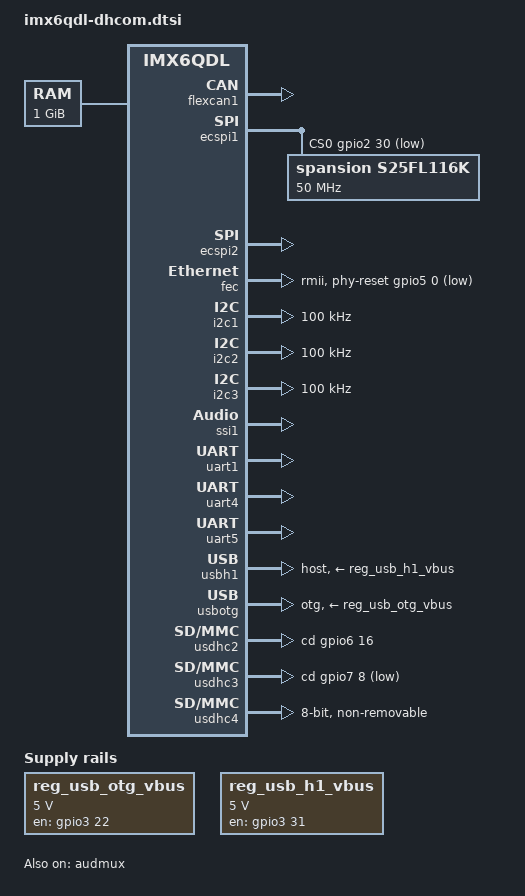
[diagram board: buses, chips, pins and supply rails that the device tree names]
/*
 * Copyright 2014 DH electronics GmbH
 * Copyright 2012 Freescale Semiconductor, Inc.
 * Copyright 2011 Linaro Ltd.
 *
 * The code contained herein is licensed under the GNU General Public
 * License. You may obtain a copy of the GNU General Public License
 * Version 2 or later at the following locations:
 *
 * http://www.opensource.org/licenses/gpl-license.html
 * http://www.gnu.org/copyleft/gpl.html
 */

/ {
	aliases {
		mxcfb0 = &mxcfb1;
		mxcfb1 = &mxcfb2;
		mxcfb2 = &mxcfb3;
		mxcfb3 = &mxcfb4;
	};
	
	memory {
		reg = <0x10000000 0x40000000>;				// 1GB DDR3 RAM
	};
	
	regulators {
		compatible = "simple-bus";

		reg_usb_otg_vbus: usb_otg_vbus {
			compatible = "regulator-fixed";
			regulator-name = "usb_otg_vbus";
			regulator-min-microvolt = <5000000>;
			regulator-max-microvolt = <5000000>;
			gpio = <&gpio3 22 0>;				// OTG ID pin
			enable-active-high;
		};

		reg_usb_h1_vbus: usb_h1_vbus {
			compatible = "regulator-fixed";
			regulator-name = "usb_h1_vbus";
			regulator-min-microvolt = <5000000>;
			regulator-max-microvolt = <5000000>;
			gpio = <&gpio3 31 0>;
			enable-active-high;
		};
	};

	/* TODO Audio */
	/*
	sound {								// Audio SGTL5000XNAA3/R2
		compatible = "fsl,imx-audio-sgtl5000";
		model = "sgtl5000-audio";
		ssi-controller = <&ssi1>;
		audio-codec = <&codec>;
		audio-routing =
			"Headphone Jack", "HPOUTL",
			"Headphone Jack", "HPOUTR",
			"Ext Spk", "SPKOUTL",
			"Ext Spk", "SPKOUTR",
			"MICBIAS", "AMIC",
			"IN3R", "MICBIAS",
			"DMIC", "MICBIAS",
			"DMICDAT", "DMIC";
		mux-int-port = <1>;
		mux-ext-port = <3>;
	};*/

	mxcfb1: fb@0 {
		compatible = "fsl,mxc_sdc_fb";
		disp_dev = "lcd";
		interface_pix_fmt = "RGB24";
		mode_str ="DH_LCD_ID_13";
		default_bpp = <32>;
		int_clk = <0>;
		late_init = <0>;
		status = "disabled";
	};

	mxcfb2: fb@1 {
		compatible = "fsl,mxc_sdc_fb";
		disp_dev = "lcd";
		interface_pix_fmt = "RGB24";
		mode_str ="DH_LCD_ID_13";
		default_bpp = <32>;
		int_clk = <0>;
		late_init = <0>;
		status = "disabled";
	};

	mxcfb3: fb@2 {
		compatible = "fsl,mxc_sdc_fb";
		disp_dev = "hdmi";
		interface_pix_fmt = "RGB24";
		mode_str ="1920x1080M@60";
		default_bpp = <24>;
		int_clk = <0>;
		late_init = <0>;
		status = "disabled";
	};

	mxcfb4: fb@3 {
		compatible = "fsl,mxc_sdc_fb";
		disp_dev = "ldb";
		interface_pix_fmt = "RGB666";
		mode_str ="LDB-XGA";
		default_bpp = <16>;
		int_clk = <0>;
		late_init = <0>;
		status = "disabled";
	};
};


&audmux {
	pinctrl-names = "default";
	pinctrl-0 = <&pinctrl_audmux_2>;
	status = "okay";
};

&flexcan1 {								// CAN
	pinctrl-names = "default";
	pinctrl-0 = <&pinctrl_flexcan1_3>;
	status = "okay";
};

&ecspi1 {								// ********** SPI 1 **********
	fsl,spi-num-chipselects = <4>;
	cs-gpios = <&gpio2 30 1>, <0>, <&gpio4 11 1>, <0>;		// SS0, (SS1), SS2, (SS3)
	pinctrl-names = "default";
	pinctrl-0 = <&pinctrl_ecspi1_1>;
	status = "okay";

	s25fl116k@0 {							// SPI Flash: Spansion S25FL116K0PMFI010 (used to store bootloader)
		#address-cells = <1>;
		#size-cells = <1>;
		compatible = "spansion,s25fl116k", "m25p80";
		spi-max-frequency = <50000000>;
		reg = <0>;						// SS0
		m25p,fast-read;
	};
};

&ecspi2 {								// ********** SPI 2 **********
	fsl,spi-num-chipselects = <4>;
	cs-gpios = <&gpio5 29 1>, <0>, <0>, <0>;			// SS0, (SS1), (SS2), (SS3)
	pinctrl-names = "default";
	pinctrl-0 = <&pinctrl_ecspi2_1>;
	status = "okay";
};

&fec {									// Ethernet 1 (PHY: SMSC LAN8710Ai)
	pinctrl-names = "default";
	pinctrl-0 = <&pinctrl_enet_4>;
	phy-mode = "rmii";
	phy-reset-gpios = <&gpio5 0 1>;
	//phy-reset-duration = 1;					// 1ms is the default value
	status = "okay";
	//local-mac-address = [00 11 22 33 44 55];			// Is set by the bootloader
};

&gpc {
	fsl,cpu_pupscr_sw2iso = <0xf>;
	fsl,cpu_pupscr_sw = <0xf>;
	fsl,cpu_pdnscr_iso2sw = <0x1>;
	fsl,cpu_pdnscr_iso = <0x1>;
	fsl,ldo-bypass = <1>; /* use ldo-bypass, u-boot will check it and configure */
	fsl,wdog-reset = <1>; /* watchdog select of reset source */
	pu-supply = <&pu_dummy>; /* ldo-bypass:use pu_dummy if VDDSOC share with VDDPU */
};

&gpu {
	pu-supply = <&pu_dummy>; /* ldo-bypass:use pu_dummy if VDDSOC share with VDDPU */
};

&i2c1 {									// ********** I2C 1 **********
									// ==> /dev/i2c-0
	clock-frequency = <100000>;
	pinctrl-names = "default";
	pinctrl-0 = <&pinctrl_i2c1_1>;
	status = "okay";
};

&i2c2 {									// ********** I2C 2 **********
									// ==> /dev/i2c-1
	clock-frequency = <100000>;
	pinctrl-names = "default";
	pinctrl-0 = <&pinctrl_i2c2_2>;
	status = "okay";
};

&i2c3 {									// ****** I2C on Board *******
									// ==> /dev/i2c-2
	clock-frequency = <100000>;
	pinctrl-names = "default";
	pinctrl-0 = <&pinctrl_i2c3_2>;
	status = "okay";

	/* TODO Audio */
	/*
	codec: sgtl5000@0a {						// Codec SGTL5000XNAA3/R2
		compatible = "fsl,sgtl5000";
		reg = <0x0a>;
		clocks = <&clks 201>;
		VDDA-supply = <&reg_audio>;
		VDDIO-supply = <&reg_audio>;
		VDDD-supply = <&reg_audio>;
		gpio-cfg = <
			0x0000 /* 0:Default *//* Remove reopen comment !!
			0x0000 /* 1:Default *//*
			0x0013 /* 2:FN_DMICCLK *//*
			0x0000 /* 3:Default *//*
			0x8014 /* 4:FN_DMICCDAT *//*
			0x0000 /* 5:Default *//*
		>;
	};*/

	/* TODO PMIC */
	/*
	pmic: ltc3676@3c {						// Power Management LTC3676EUJ#PBF
		compatible = "ltc,ltc3676";
		reg = <0x3c>;

		regulators {
			sw1_reg: ltc3676__sw1 {
				regulator-min-microvolt = <1175000>;
				regulator-max-microvolt = <1175000>;
				regulator-boot-on;
				regulator-always-on;
			};

			sw2_reg: ltc3676__sw2 {
				regulator-min-microvolt = <1800000>;
				regulator-max-microvolt = <1800000>;
				regulator-boot-on;
				regulator-always-on;
			};

			sw3_reg: ltc3676__sw3 {
				regulator-min-microvolt = <1175000>;
				regulator-max-microvolt = <1175000>;
				regulator-boot-on;
				regulator-always-on;
			};

			sw4_reg: ltc3676__sw4 {
				regulator-min-microvolt = <1500000>;
				regulator-max-microvolt = <1500000>;
				regulator-boot-on;
				regulator-always-on;
			};

			ldo2_reg: ltc3676__ldo2 {
				regulator-min-microvolt = <2500000>;
				regulator-max-microvolt = <2500000>;
				regulator-boot-on;
				regulator-always-on;
			};

			ldo4_reg: ltc3676__ldo4 {
				regulator-min-microvolt = <3000000>;
				regulator-max-microvolt = <3000000>;
			};
		};
	};*/

	tsc2004@49 {							// Touch controller TI TSC2014 (on Board)
		compatible = "ti,tsc2004";
		reg = <0x49>;
		tsc_model =  <2004>;
		interrupt-parent = <&gpio6>;
		interrupts = <28 2>;
		irq-gpios = <&gpio6 28 0>;
		status = "disabled";
	};

	/* Will be replaced, because there is a address conflict with the RTC
	/*
	eeprom@50 {							// EEPROM Microchip 24AA02E48T-I/OT
		compatible = "atmel,24c02";
		reg = <0x50>;
		pagesize = <8>;
	};*/

	/* Use internal rtc in default case */
	/*
	rtc@56 {							// Micro Crystal RV-3029-C3
		device_type = "rtc";
		compatible = "microc,rtc-rv3029c3", "microc,rtc-rv3029c2";
		reg = <0x56>;
	};*/
};

&weim {									// Memory interface is not active by default
	status = "disable"; 
};

&iomuxc {
	pinctrl-names = "default";
	pinctrl-0 = <&pinctrl_hog>;

	hog {
		pinctrl_hog: hoggrp {
			fsl,pins = <
				MX6QDL_PAD_NANDF_CS3__GPIO6_IO16  0x80000000	// Card detection for the SD card
				MX6QDL_PAD_SD3_RST__GPIO7_IO08    0x80000000	// Card detection for the Mirco SD card (onBoard)
				MX6QDL_PAD_EIM_D31__GPIO3_IO31    0x80000000	// USB Host 1 Power
				MX6QDL_PAD_RGMII_RD2__GPIO6_IO28  0x80000000	// Touch Interrupt resistive
				MX6QDL_PAD_GPIO_9__WDOG1_B        0x80000000	// Watchdog pin
			>;
		};
	};
};

&ssi1 {									// Used for sound
	fsl,mode = "i2s-slave";
	status = "okay";
};

&uart1 {								// UART 1 (FF)
	pinctrl-names = "default";					// ==> /dev/ttymxc0
	pinctrl-0 = <&pinctrl_uart1_2>;
	fsl,uart-has-rtscts;
	status = "okay";
};

&uart4 {								// UART 3 (STD)
	pinctrl-names = "default";					// ==> /dev/ttymxc3
	pinctrl-0 = <&pinctrl_uart4_2>;
	status = "okay";
};

&uart5 {								// UART 2 (BT)
	pinctrl-names = "default";					// ==> /dev/ttymxc4
	pinctrl-0 = <&pinctrl_uart5_1>;
	fsl,uart-has-rtscts;
	status = "okay";
};

&usbh1 {								// USB Host 1
	vbus-supply = <&reg_usb_h1_vbus>;
	status = "okay";
	dr_mode = "host";
};

&usbotg {								// USB OTG
	vbus-supply = <&reg_usb_otg_vbus>;
	pinctrl-names = "default";
	pinctrl-0 = <&pinctrl_usbotg_1>;
	disable-over-current;
	status = "okay";
	dr_mode = "otg";						// "host", "peripheral" or "otg" default = "otg"
};

&usdhc2 {								// SD card
	pinctrl-names = "default";
	pinctrl-0 = <&pinctrl_usdhc2_2>;
	cd-gpios = <&gpio6 16 0>;
	fsl,wp-controller;
	keep-power-in-suspend;
	status = "okay";
};

&usdhc3 {								// Mirco SD card (onBoard)
	pinctrl-names = "default";
	pinctrl-0 = <&pinctrl_usdhc3_2>;
	cd-gpios = <&gpio7 8 1>;
	fsl,wp-controller;
	keep-power-in-suspend;
	status = "okay";
};

&usdhc4 {								// eMMC (onBoard)
	pinctrl-names = "default";
	pinctrl-0 = <&pinctrl_usdhc4_1>;
	non-removable;
	bus-width = <8>;
	no-1-8-v;
	keep-power-in-suspend;
	status = "okay";
};

&vpu {
	pu-supply = <&pu_dummy>;					// ldo-bypass:use pu_dummy if VDDSOC share with VDDPU
};
